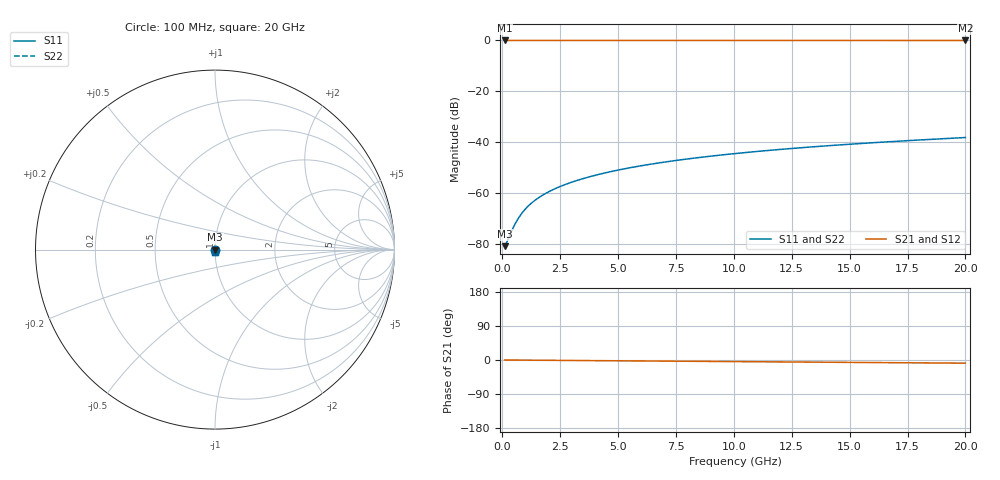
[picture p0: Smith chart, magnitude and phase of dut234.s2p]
! Touchstone file exported from HFSS 2026.1.0
!  File:  C:/ffzhzh/LocalFiles/Ansys_Project_Files/temp_train_TSV_234_1782992434_6248.aedt
!  Generated:  07:41:43 PM Jul  2, 2026
!  Design:  TSV
!  Project:  temp_train_TSV_234_1782992434_6248
! Variables:
!  h_bsmrdl = 2um
!  h_ox = 20um
!  h_rdl = 5um
!  h_sub = 84.01um
!  h_tmrdl = 5um
!  h_tsv = 84.01um
!  h_via = 3um
!  l_bsmrdl = 300um
!  l_sub = 426.2um
!  l_tmrdl = 200um
!  m_sub = 200um
!  pitch = 48.27um
!  r_tsv = 13.1um
!  s_tmrdl = 10um
!  w_bsmrdl = 18um
!  w_sub = 500um
!  w_tmrdl = 12um
!  x_tsv_center1 = 206um
!  x_tsv_center2 = 524um
!  x_tsv_center3 = 736um
!  x_tsv_center4 = 1054um
!  x_tsv_center5 = 1266um
!  x_tsv_center6 = 1584um
# GHz S MA R 50.000000
! Terminal data exported
! Port[1] = TSV1_1_T1
! Port[2] = TSV1_1_T2
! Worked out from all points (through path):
!   200 points, 100 MHz to 20 GHz, reference 50 ohm
!   highest |S21| = 0.00 dB at 100 MHz (marker M1); lowest = 0.0 dB at 20 GHz (marker M2)
!   group delay of S21, straight-line fit = 1.16 ps
!   lowest |S11| = -80.8 dB at 100 MHz (marker M3), VSWR 1.00, Z = 50 - j0.00182 ohm
!   |S11| at or under -10 dB: start of sweep to end of sweep
!   |S22| runs from -80.8 to -38.1 dB; largest |S21 - S12| = 1.3e-15
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0.1  9.126e-05 -11.5  0.9999 -0.0  0.9999 -0.0  9.126e-05 -11.5
! Gamma 0 0 0 0
! Port Impedance 50 0 50 0
0.2  0.0001106 -21.2  0.9999 -0.1  0.9999 -0.1  0.0001106 -21.2
0.4  0.0001792 -35.0  0.9999 -0.2  0.9999 -0.2  0.0001792 -35.0
0.5  0.000224 -40.2  0.9998 -0.2  0.9998 -0.2  0.000224 -40.2
0.6  0.0002731 -44.6  0.9998 -0.3  0.9998 -0.3  0.0002731 -44.6
0.7  0.0003253 -48.3  0.9998 -0.3  0.9998 -0.3  0.0003253 -48.3
0.8  0.0003794 -51.6  0.9998 -0.3  0.9998 -0.3  0.0003794 -51.6
1  0.0004911 -57.0  0.9997 -0.4  0.9997 -0.4  0.0004911 -57.0
1.3  0.0006623 -62.8  0.9997 -0.6  0.9997 -0.6  0.0006623 -62.8
1.7  0.0008925 -67.9  0.9997 -0.7  0.9997 -0.7  0.0008925 -67.9
2.2  0.001181 -72.0  0.9996 -0.9  0.9996 -0.9  0.001182 -72.0
2.8  0.001531 -75.2  0.9996 -1.2  0.9996 -1.2  0.001531 -75.2
3.5  0.001944 -77.6  0.9995 -1.5  0.9995 -1.5  0.001944 -77.6
4.2  0.002363 -79.3  0.9995 -1.8  0.9995 -1.8  0.002363 -79.3
5  0.002849 -80.8  0.9994 -2.1  0.9994 -2.1  0.002849 -80.8
5.9  0.003402 -82.2  0.9994 -2.5  0.9994 -2.5  0.003402 -82.2
6.8  0.003962 -83.3  0.9993 -2.9  0.9993 -2.9  0.003962 -83.3
8.3  0.004902 -85.0  0.9993 -3.5  0.9993 -3.5  0.004902 -85.0
10.1  0.00604 -86.6  0.9992 -4.2  0.9992 -4.2  0.00604 -86.6
13.4  0.008141 -89.2  0.999 -5.6  0.999 -5.6  0.008141 -89.2
16.7  0.01026 -91.3  0.9989 -7.0  0.9989 -7.0  0.01026 -91.3
20  0.0124 -93.2  0.9988 -8.4  0.9988 -8.4  0.0124 -93.1
